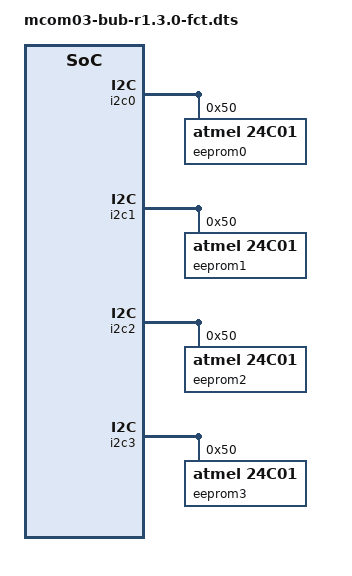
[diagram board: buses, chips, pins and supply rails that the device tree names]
// SPDX-License-Identifier: GPL-2.0+
/*
 * Copyright 2021 RnD Center "ELVEES", JSC
 */

/dts-v1/;

#include "mcom03-bub-r1.3.0-b101uan01.dts"

&i2c0 {
	eeprom0: eeprom0@50 {
		#address-cells = <1>;
		#size-cells = <0>;
		compatible = "atmel,24c01";
		reg = <0x50>;
	};
};

&i2c1 {
	eeprom1: eeprom1@50 {
		#address-cells = <1>;
		#size-cells = <0>;
		compatible = "atmel,24c01";
		reg = <0x50>;
	};
};

&i2c2 {
	eeprom2: eeprom2@50 {
		#address-cells = <1>;
		#size-cells = <0>;
		compatible = "atmel,24c01";
		reg = <0x50>;
	};
};

&i2c3 {
	eeprom3: eeprom3@50 {
		#address-cells = <1>;
		#size-cells = <0>;
		compatible = "atmel,24c01";
		reg = <0x50>;
	};
};
